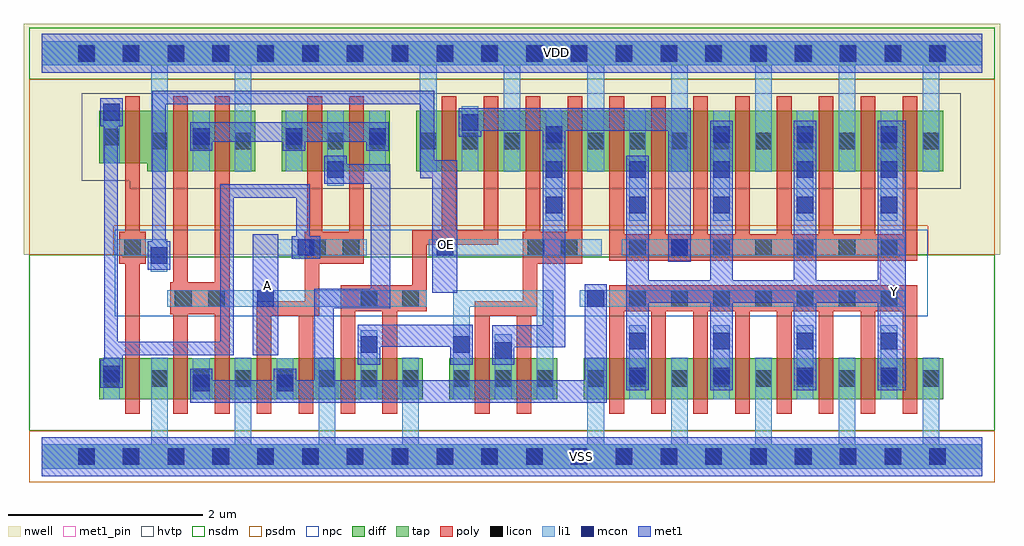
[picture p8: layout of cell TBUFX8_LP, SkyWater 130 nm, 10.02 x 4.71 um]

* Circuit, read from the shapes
.subckt TBUFX8_LP A OE VDD VSS Y
XM1 VSS OE n1 VSS sky130_fd_pr__nfet_01v8 w=0.42 l=0.15
XM2 n2 A VSS VSS sky130_fd_pr__nfet_01v8 w=0.42 l=0.15 m=2
XM3 n2 n1 VSS VSS sky130_fd_pr__nfet_01v8 w=0.42 l=0.15 m=2
XM4 n3 A VSS VSS sky130_fd_pr__nfet_01v8 w=0.42 l=0.15 m=2
XM5 n4 OE n3 VSS sky130_fd_pr__nfet_01v8 w=0.42 l=0.15 m=2
XM6 Y n2 VSS VSS sky130_fd_pr__nfet_01v8 w=0.42 l=0.15 m=8
XM7 VDD OE n1 VDD sky130_fd_pr__pfet_01v8_hvt w=0.54 l=0.15
XM8 n5 A VDD VDD sky130_fd_pr__pfet_01v8_hvt w=0.62 l=0.15 m=2
XM9 n2 n1 n5 VDD sky130_fd_pr__pfet_01v8_hvt w=0.62 l=0.15 m=2
XM10 n4 A VDD VDD sky130_fd_pr__pfet_01v8_hvt w=0.62 l=0.15 m=2
XM11 n4 OE VDD VDD sky130_fd_pr__pfet_01v8_hvt w=0.62 l=0.15 m=2
XM12 Y n4 VDD VDD sky130_fd_pr__pfet_01v8_hvt w=0.62 l=0.15 m=8
.ends

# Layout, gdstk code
from math import pi, radians
import gdstk
lib = gdstk.Library(unit=1e-6, precision=1e-09)
def R(c, l, rs):  # rectangles x0, y0, x1, y1
    for r in rs: c.add(gdstk.rectangle(r[:2], r[2:], *l))
def A(c, l, x, y, w, h, nx, ny, dx, dy):  # array of equal rectangles
    R(c, l, [(x+i*dx, y+j*dy, x+i*dx+w, y+j*dy+h) for i in range(nx) for j in range(ny)])
def P(c, l, *ps):  # polygons
    for p in ps: c.add(gdstk.Polygon(p, *l))
nwell = (64, 20)
diff = (65, 20)
tap = (65, 44)
poly = (66, 20)
licon = (66, 44)
li1 = (67, 20)
mcon = (67, 44)
met1_pin = (68, 16)
met1 = (68, 20)
hvtp = (78, 44)
nsdm = (93, 44)
psdm = (94, 20)
npc = (95, 20)

l1m1_c_cdns_758729379651 = lib.new_cell('L1M1_C_CDNS_7587293796517')
R(l1m1_c_cdns_758729379651, li1, [(-0.085,-0.085,0.085,0.085)])
R(l1m1_c_cdns_758729379651, mcon, [(-0.085,-0.085,0.085,0.085)])
R(l1m1_c_cdns_758729379651, met1, [(-0.115,-0.145,0.115,0.145)])

l1m1_c_cdns_758729379654 = lib.new_cell('L1M1_C_CDNS_758729379654')
R(l1m1_c_cdns_758729379654, li1, [(-0.165,-0.085,0.165,0.085)])
R(l1m1_c_cdns_758729379654, mcon, [(-0.085,-0.085,0.085,0.085)])
R(l1m1_c_cdns_758729379654, met1, [(-0.115,-0.145,0.115,0.145)])

pyl1con_c_cdns_758729379 = lib.new_cell('PYL1CON_C_CDNS_758729379653')
R(pyl1con_c_cdns_758729379, poly, [(-0.135,-0.165,0.135,0.165)])
R(pyl1con_c_cdns_758729379, licon, [(-0.085,-0.085,0.085,0.085)])
R(pyl1con_c_cdns_758729379, npc, [(-0.185,-0.185,0.185,0.185)])

l1m1_c_cdns_758729379655 = lib.new_cell('L1M1_C_CDNS_758729379655')
R(l1m1_c_cdns_758729379655, li1, [(-0.085,-0.165,0.085,0.165)])
R(l1m1_c_cdns_758729379655, mcon, [(-0.085,-0.085,0.085,0.085)])
R(l1m1_c_cdns_758729379655, met1, [(-0.115,-0.145,0.115,0.145)])

l1m1_c_cdns_758729379659 = lib.new_cell('L1M1_C_CDNS_758729379659')
R(l1m1_c_cdns_758729379659, li1, [(-0.085,-0.345,0.085,0.345)])
R(l1m1_c_cdns_758729379659, mcon, [(-0.085,-0.265,0.085,-0.095), (-0.085,0.095,0.085,0.265)])
R(l1m1_c_cdns_758729379659, met1, [(-0.115,-0.325,0.115,0.325)])

c_l1m1_c_cdns_758729379651 = lib.new_cell('L1M1_C_CDNS_7587293796510')
R(c_l1m1_c_cdns_758729379651, li1, [(-0.085,-0.525,0.085,0.525)])
A(c_l1m1_c_cdns_758729379651, mcon, -0.085, -0.445, 0.17, 0.17, 1, 3, 0, 0.36)
R(c_l1m1_c_cdns_758729379651, met1, [(-0.115,-0.505,0.115,0.505)])

c_l1m1_c_cdns_758729379651_ = lib.new_cell('L1M1_C_CDNS_7587293796518')
R(c_l1m1_c_cdns_758729379651_, li1, [(-0.085,-0.145,0.085,0.145)])
R(c_l1m1_c_cdns_758729379651_, mcon, [(-0.085,-0.085,0.085,0.085)])
R(c_l1m1_c_cdns_758729379651_, met1, [(-0.115,-0.205,0.115,0.205)])

l1m1_c_cdns_758729379658 = lib.new_cell('L1M1_C_CDNS_758729379658')
R(l1m1_c_cdns_758729379658, li1, [(-0.085,-0.165,0.085,0.085)])
R(l1m1_c_cdns_758729379658, mcon, [(-0.085,-0.085,0.085,0.085)])
R(l1m1_c_cdns_758729379658, met1, [(-0.115,-0.145,0.115,0.145)])

c_l1m1_c_cdns_758729379651__ = lib.new_cell('L1M1_C_CDNS_7587293796512')
R(c_l1m1_c_cdns_758729379651__, li1, [(-0.165,-0.085,0.165,0.085)])
R(c_l1m1_c_cdns_758729379651__, mcon, [(-0.085,-0.085,0.085,0.085)])
R(c_l1m1_c_cdns_758729379651__, met1, [(-0.145,-0.115,0.145,0.115)])

tbufx8_lp = lib.new_cell('TBUFX8_LP')
R(tbufx8_lp, nwell, [(-0.18,2.07,9.84,4.445)])
R(tbufx8_lp, diff, [(0.595,0.59,3.915,1.01), (4.185,0.59,5.295,1.01), (5.565,0.59,9.255,1.01), (2.465,2.93,3.575,3.55), (3.845,2.93,9.255,3.55)])
P(tbufx8_lp, diff, [(2.195,3.55),(0.595,3.55),(0.595,3.01),(1.085,3.01),(1.085,2.93),(2.195,2.93)])
A(tbufx8_lp, poly, 5.83, 0.44, 0.15, 1.32, 8, 1, 0.43, 0)
A(tbufx8_lp, poly, 5.83, 2.01, 0.15, 1.69, 8, 1, 0.43, 0)
R(tbufx8_lp, poly, [(0.86,0.44,1.01,3.7), (3.07,0.44,3.22,1.76), (3.5,0.44,3.65,1.76)])
P(tbufx8_lp, poly, [(1.93,3.7),(1.78,3.7),(1.78,1.79),(1.5,1.79),(1.5,3.7),(1.35,3.7),(1.35,1.79),(1.32,1.79),(1.32,1.46),(1.35,1.46),(1.35,0.44),(1.5,0.44),(1.5,1.46),(1.78,1.46),(1.78,0.44),(1.93,0.44)],
  [(3.31,3.7),(3.16,3.7),(3.16,2.31),(2.88,2.31),(2.88,3.7),(2.73,3.7),(2.73,2.31),(2.7,2.31),(2.7,1.595),(2.21,1.595),(2.21,0.44),(2.36,0.44),(2.36,1.445),(2.64,1.445),(2.64,0.44),(2.79,0.44),(2.79,1.445),(2.85,1.445),(2.85,1.98),(3.31,1.98)],
  [(4.69,3.7),(4.54,3.7),(4.54,2.325),(4.26,2.325),(4.26,3.7),(4.11,3.7),(4.11,2.325),(3.805,2.325),(3.805,1.49),(3.955,1.49),(3.955,2.175),(4.69,2.175)],
  [(5.55,3.7),(5.4,3.7),(5.4,2.31),(5.12,2.31),(5.12,3.7),(4.97,3.7),(4.97,2.31),(4.94,2.31),(4.94,1.595),(4.45,1.595),(4.45,0.44),(4.6,0.44),(4.6,1.445),(4.88,1.445),(4.88,0.44),(5.03,0.44),(5.03,1.445),(5.09,1.445),(5.09,1.98),(5.55,1.98)])
A(tbufx8_lp, licon, 0.375, -0.085, 0.17, 0.17, 20, 2, 0.46, 4.14)
A(tbufx8_lp, licon, 1.125, 0.715, 0.17, 0.17, 7, 1, 0.43, 0)
A(tbufx8_lp, licon, 4.225, 0.715, 0.17, 0.17, 3, 1, 0.43, 0)
A(tbufx8_lp, licon, 5.605, 0.715, 0.17, 0.17, 9, 1, 0.43, 0)
A(tbufx8_lp, licon, 1.125, 3.155, 0.17, 0.17, 3, 1, 0.43, 0)
A(tbufx8_lp, licon, 2.505, 3.155, 0.17, 0.17, 3, 1, 0.43, 0)
A(tbufx8_lp, licon, 3.885, 3.155, 0.17, 0.17, 13, 1, 0.43, 0)
R(tbufx8_lp, licon, [(0.635,0.715,0.805,0.885), (0.635,3.195,0.805,3.365)])
A(tbufx8_lp, li1, 1.555, 0.59, 0.17, 0.42, 3, 1, 0.86, 0)
A(tbufx8_lp, li1, 6.035, 0.59, 0.17, 0.42, 4, 1, 0.86, 0)
A(tbufx8_lp, li1, 2.505, 2.93, 0.17, 0.62, 3, 1, 0.43, 0)
A(tbufx8_lp, li1, 4.315, 2.93, 0.17, 0.62, 6, 1, 0.86, 0)
R(tbufx8_lp, li1, [(0.635,0.59,0.805,1.01), (4.225,0.59,4.395,1.01), (4.655,0.59,4.825,1.01), (1.555,2.93,1.725,3.55), (0.635,3.01,0.805,3.55)])
P(tbufx8_lp, li1, [(5.255,1.71),(4.225,1.71),(4.225,1.27),(4.395,1.27),(4.395,1.54),(5.085,1.54),(5.085,0.59),(5.255,0.59)],
  [(9.66,4.265),(0,4.265),(0,4.015),(1.125,4.015),(1.125,2.925),(1.295,2.925),(1.295,4.015),(1.985,4.015),(1.985,2.925),(2.155,2.925),(2.155,4.015),(3.885,4.015),(3.885,2.925),(4.055,2.925),(4.055,4.015),(4.745,4.015),(4.745,2.925),(4.915,2.925),(4.915,4.015),(5.605,4.015),(5.605,2.925),(5.775,2.925),(5.775,4.015),(6.465,4.015),(6.465,2.925),(6.635,2.925),(6.635,4.015),(7.325,4.015),(7.325,2.925),(7.495,2.925),(7.495,4.015),(8.185,4.015),(8.185,2.925),(8.355,2.925),(8.355,4.015),(9.045,4.015),(9.045,2.925),(9.215,2.925),(9.215,4.015),(9.66,4.015)],
  [(9.66,0.125),(9.215,0.125),(9.215,1.015),(9.045,1.015),(9.045,0.125),(8.355,0.125),(8.355,1.015),(8.185,1.015),(8.185,0.125),(7.495,0.125),(7.495,1.015),(7.325,1.015),(7.325,0.125),(6.635,0.125),(6.635,1.015),(6.465,1.015),(6.465,0.125),(5.775,0.125),(5.775,1.015),(5.605,1.015),(5.605,0.125),(3.875,0.125),(3.875,1.015),(3.705,1.015),(3.705,0.125),(3.015,0.125),(3.015,1.015),(2.845,1.015),(2.845,0.125),(2.155,0.125),(2.155,1.015),(1.985,1.015),(1.985,0.125),(1.295,0.125),(1.295,1.015),(1.125,1.015),(1.125,0.125),(0,0.125),(0,-0.125),(9.66,-0.125)])
A(tbufx8_lp, mcon, 0.375, -0.085, 0.17, 0.17, 20, 2, 0.46, 4.14)
R(tbufx8_lp, met1_pin, [(2.17,1.04,2.43,2.28), (8.61,1.095,8.87,2.335), (4.01,1.68,4.27,3.04)])
P(tbufx8_lp, met1, [(2.755,2.795),(1.835,2.795),(1.835,1.18),(0.785,1.18),(0.785,3.605),(0.645,3.605),(0.645,0.765),(0.785,0.765),(0.785,0.995),(0.835,0.995),(0.835,1.04),(1.975,1.04),(1.975,2.655),(2.615,2.655),(2.615,2.215),(2.59,2.215),(2.59,2.075),(2.755,2.075)],
  [(4.27,3.04),(4.03,3.04),(4.03,3.755),(1.135,3.755),(1.135,2.125),(1.275,2.125),(1.275,3.615),(3.89,3.615),(3.89,2.855),(4.01,2.855),(4.01,1.68),(4.27,1.68)],
  [(5.805,1.77),(5.575,1.77),(5.575,0.785),(3,0.785),(3,1.525),(3.58,1.525),(3.58,3),(3.12,3),(3.12,3.09),(2.92,3.09),(2.92,2.8),(3.38,2.8),(3.38,1.725),(2.8,1.725),(2.8,0.785),(1.525,0.785),(1.525,0.555),(5.805,0.555)],
  [(6.665,3.575),(4.4,3.575),(4.4,3.345),(5.145,3.345),(5.145,1.35),(4.625,1.35),(4.625,1.12),(5.375,1.12),(5.375,3.345),(6.435,3.345),(6.435,2),(6.665,2)],
  [(8.87,3.45),(8.585,3.45),(8.585,1.81),(7.955,1.81),(7.955,3.45),(7.725,3.45),(7.725,1.81),(7.095,1.81),(7.095,3.45),(6.865,3.45),(6.865,1.81),(6.235,1.81),(6.235,3.09),(6.005,3.09),(6.005,0.68),(6.235,0.68),(6.235,1.58),(6.865,1.58),(6.865,0.68),(7.095,0.68),(7.095,1.58),(7.725,1.58),(7.725,0.68),(7.955,0.68),(7.955,1.58),(8.585,1.58),(8.585,0.68),(8.87,0.68)])
P(tbufx8_lp, hvtp, [(9.435,3.73),(0.415,3.73),(0.415,2.83),(0.905,2.83),(0.905,2.75),(9.435,2.75)])
R(tbufx8_lp, nsdm, [(-0.125,3.875,9.785,4.405)])
P(tbufx8_lp, nsdm, [(9.785,2.07),(8.805,2.07),(8.805,2.05),(0.83,2.05),(0.83,2.07),(-0.125,2.07),(-0.125,0.265),(9.785,0.265)])
R(tbufx8_lp, psdm, [(-0.125,-0.265,9.785,0.265)])
P(tbufx8_lp, psdm, [(9.785,3.875),(-0.125,3.875),(-0.125,2.07),(0.74,2.07),(0.74,2.37),(9.1,2.37),(9.1,2.07),(9.785,2.07)])
R(tbufx8_lp, npc, [(0.75,1.44,9.1,2.33)])
tbufx8_lp.add(gdstk.FlexPath([(0,4.14),(9.66,4.14)], 0.4, ends="flush", simple_path=True, layer=68, datatype=16))  # met1_pin
tbufx8_lp.add(gdstk.FlexPath([(0,0),(9.66,0)], 0.4, ends="flush", simple_path=True, layer=68, datatype=16))  # met1_pin
tbufx8_lp.add(gdstk.FlexPath([(0,4.14),(9.66,4.14)], 0.4, ends="flush", simple_path=True, layer=68, datatype=20))  # met1
tbufx8_lp.add(gdstk.FlexPath([(0,0),(9.66,0)], 0.4, ends="flush", simple_path=True, layer=68, datatype=20))  # met1
tbufx8_lp.add(gdstk.FlexPath([(2.3,1.04),(2.3,2.28)], 0.26, ends="flush", simple_path=True, layer=68, datatype=20))  # met1
tbufx8_lp.add(gdstk.FlexPath([(3.41,3.33),(1.625,3.33)], 0.2, ends="flush", simple_path=True, layer=68, datatype=20))  # met1
tbufx8_lp.add(gdstk.FlexPath([(4.295,1.24),(3.345,1.24)], 0.23, ends="flush", simple_path=True, layer=68, datatype=20))  # met1
tbufx8_lp.add(gdstk.FlexPath([(3.34,2.145),(2.425,2.145)], 0.17, ends="flush", simple_path=True, layer=67, datatype=20))  # li1
tbufx8_lp.add(gdstk.FlexPath([(1.2,2.145),(0.77,2.145)], 0.17, ends="flush", simple_path=True, layer=67, datatype=20))  # li1
tbufx8_lp.add(gdstk.FlexPath([(5.75,2.145),(3.975,2.145)], 0.17, ends="flush", simple_path=True, layer=67, datatype=20))  # li1
tbufx8_lp.add(gdstk.FlexPath([(3.955,1.625),(1.29,1.625)], 0.17, ends="flush", simple_path=True, layer=67, datatype=20))  # li1
tbufx8_lp.add(gdstk.FlexPath([(5.955,2.145),(8.865,2.145)], 0.17, ends="flush", simple_path=True, layer=67, datatype=20))  # li1
tbufx8_lp.add(gdstk.FlexPath([(5.525,1.625),(8.865,1.625)], 0.17, ends="flush", simple_path=True, layer=67, datatype=20))  # li1
tbufx8_lp.add(gdstk.FlexPath([(0,4.14),(9.66,4.14)], 0.25, ends="flush", simple_path=True, layer=65, datatype=44))  # tap
tbufx8_lp.add(gdstk.FlexPath([(0,0),(9.66,0)], 0.25, ends="flush", simple_path=True, layer=65, datatype=44))  # tap
tbufx8_lp.add(gdstk.Reference(l1m1_c_cdns_758729379651, (4.31,1.15)))
tbufx8_lp.add(gdstk.Reference(l1m1_c_cdns_758729379651, (3.36,1.15)))
tbufx8_lp.add(gdstk.Reference(l1m1_c_cdns_758729379654, (4.14,2.145), rotation=pi, x_reflection=True))
tbufx8_lp.add(gdstk.Reference(l1m1_c_cdns_758729379654, (6.55,2.145)))
tbufx8_lp.add(gdstk.Reference(l1m1_c_cdns_758729379654, (5.69,1.625)))
tbufx8_lp.add(gdstk.Reference(l1m1_c_cdns_758729379654, (2.3,1.625), x_reflection=True))
tbufx8_lp.add(gdstk.Reference(pyl1con_c_cdns_758729379, (2.835,2.145)))
tbufx8_lp.add(gdstk.Reference(pyl1con_c_cdns_758729379, (3.175,2.145)))
tbufx8_lp.add(gdstk.Reference(pyl1con_c_cdns_758729379, (5.075,2.145)))
tbufx8_lp.add(gdstk.Reference(pyl1con_c_cdns_758729379, (1.795,1.625)))
tbufx8_lp.add(gdstk.Reference(pyl1con_c_cdns_758729379, (1.455,1.625)))
tbufx8_lp.add(gdstk.Reference(pyl1con_c_cdns_758729379, (7.41,1.625), rotation=3*pi/2))
tbufx8_lp.add(gdstk.Reference(pyl1con_c_cdns_758729379, (0.935,2.145), rotation=pi))
tbufx8_lp.add(gdstk.Reference(pyl1con_c_cdns_758729379, (6.12,2.145), rotation=3*pi/2))
tbufx8_lp.add(gdstk.Reference(pyl1con_c_cdns_758729379, (6.98,2.145), rotation=3*pi/2))
tbufx8_lp.add(gdstk.Reference(pyl1con_c_cdns_758729379, (6.55,2.145), rotation=3*pi/2))
tbufx8_lp.add(gdstk.Reference(pyl1con_c_cdns_758729379, (7.41,2.145), rotation=3*pi/2))
tbufx8_lp.add(gdstk.Reference(pyl1con_c_cdns_758729379, (7.84,1.625), rotation=3*pi/2))
tbufx8_lp.add(gdstk.Reference(pyl1con_c_cdns_758729379, (8.7,1.625), rotation=3*pi/2))
tbufx8_lp.add(gdstk.Reference(pyl1con_c_cdns_758729379, (8.27,1.625), rotation=3*pi/2))
tbufx8_lp.add(gdstk.Reference(pyl1con_c_cdns_758729379, (6.12,1.625), rotation=3*pi/2))
tbufx8_lp.add(gdstk.Reference(pyl1con_c_cdns_758729379, (6.98,1.625), rotation=3*pi/2))
tbufx8_lp.add(gdstk.Reference(pyl1con_c_cdns_758729379, (5.415,2.145)))
tbufx8_lp.add(gdstk.Reference(pyl1con_c_cdns_758729379, (3.36,1.625), rotation=3*pi/2))
tbufx8_lp.add(gdstk.Reference(pyl1con_c_cdns_758729379, (3.79,1.625), rotation=3*pi/2))
tbufx8_lp.add(gdstk.Reference(pyl1con_c_cdns_758729379, (8.7,2.145), rotation=3*pi/2))
tbufx8_lp.add(gdstk.Reference(pyl1con_c_cdns_758729379, (8.27,2.145), rotation=3*pi/2))
tbufx8_lp.add(gdstk.Reference(pyl1con_c_cdns_758729379, (7.84,2.145), rotation=3*pi/2))
tbufx8_lp.add(gdstk.Reference(pyl1con_c_cdns_758729379, (6.55,1.625), rotation=3*pi/2))
tbufx8_lp.add(gdstk.Reference(l1m1_c_cdns_758729379655, (3.02,2.945)))
tbufx8_lp.add(gdstk.Reference(l1m1_c_cdns_758729379655, (3.45,3.285)))
tbufx8_lp.add(gdstk.Reference(l1m1_c_cdns_758729379655, (1.64,3.285)))
tbufx8_lp.add(gdstk.Reference(l1m1_c_cdns_758729379655, (4.74,1.09)))
tbufx8_lp.add(gdstk.Reference(l1m1_c_cdns_758729379655, (4.4,3.43)))
tbufx8_lp.add(gdstk.Reference(l1m1_c_cdns_758729379655, (1.64,0.755)))
tbufx8_lp.add(gdstk.Reference(l1m1_c_cdns_758729379655, (2.5,0.755)))
tbufx8_lp.add(gdstk.Reference(l1m1_c_cdns_758729379655, (0.72,0.85), rotation=pi, x_reflection=True))
tbufx8_lp.add(gdstk.Reference(l1m1_c_cdns_758729379655, (2.59,3.285)))
tbufx8_lp.add(gdstk.Reference(l1m1_c_cdns_758729379659, (6.12,2.765)))
tbufx8_lp.add(gdstk.Reference(l1m1_c_cdns_758729379659, (6.98,1.005)))
tbufx8_lp.add(gdstk.Reference(l1m1_c_cdns_758729379659, (6.12,1.005)))
tbufx8_lp.add(gdstk.Reference(l1m1_c_cdns_758729379659, (7.84,1.005)))
tbufx8_lp.add(gdstk.Reference(l1m1_c_cdns_758729379659, (8.7,1.005)))
tbufx8_lp.add(gdstk.Reference(c_l1m1_c_cdns_758729379651, (5.26,2.945)))
tbufx8_lp.add(gdstk.Reference(c_l1m1_c_cdns_758729379651, (6.98,2.945)))
tbufx8_lp.add(gdstk.Reference(c_l1m1_c_cdns_758729379651, (7.84,2.945)))
tbufx8_lp.add(gdstk.Reference(c_l1m1_c_cdns_758729379651, (8.7,2.945)))
tbufx8_lp.add(gdstk.Reference(c_l1m1_c_cdns_758729379651_, (3.36,1.15)))
tbufx8_lp.add(gdstk.Reference(c_l1m1_c_cdns_758729379651_, (4.31,1.15)))
tbufx8_lp.add(gdstk.Reference(l1m1_c_cdns_758729379658, (0.72,3.535), rotation=pi, x_reflection=True))
tbufx8_lp.add(gdstk.Reference(c_l1m1_c_cdns_758729379651__, (2.715,2.145), rotation=pi, x_reflection=True))
tbufx8_lp.add(gdstk.Reference(c_l1m1_c_cdns_758729379651__, (1.205,2.065), rotation=pi/2, x_reflection=True))
tbufx8_lp.add(gdstk.Label('VDD', (5.285,4.145), layer=68, texttype=5))
tbufx8_lp.add(gdstk.Label('VSS', (5.545,0.005), layer=68, texttype=5))
tbufx8_lp.add(gdstk.Label('Y', (8.755,1.69), layer=68, texttype=5))
tbufx8_lp.add(gdstk.Label('A', (2.315,1.76), layer=68, texttype=5))
tbufx8_lp.add(gdstk.Label('OE', (4.155,2.18), layer=68, texttype=5))

lib.write_gds('TBUFX8_LP.gds')
